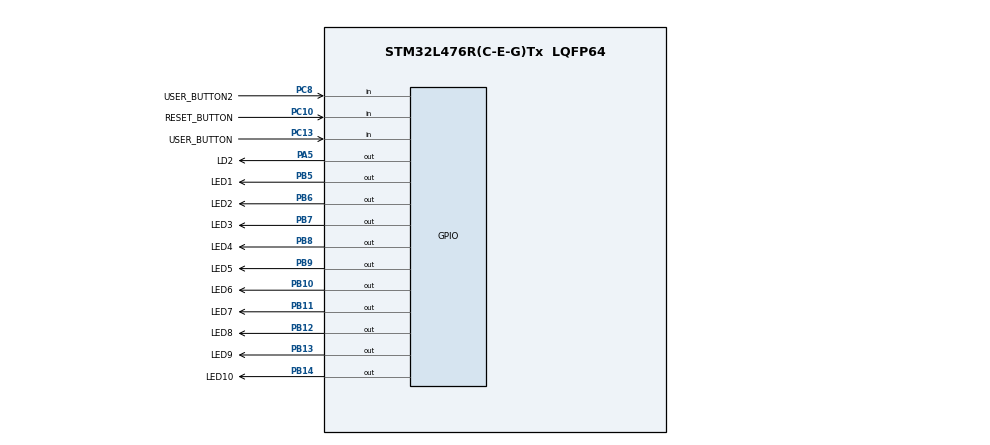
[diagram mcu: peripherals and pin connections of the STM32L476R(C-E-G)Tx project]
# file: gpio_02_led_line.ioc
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Mcu.Family=STM32L4
Mcu.Name=STM32L476R(C-E-G)Tx
Mcu.Package=LQFP64
NVIC.PriorityGroup=NVIC_PRIORITYGROUP_4
PA5.GPIO_Label=LD2
PA5.Signal=GPIO_Output
PB10.GPIO_Label=LED6
PB10.Signal=GPIO_Output
PB11.GPIO_Label=LED7
PB11.Signal=GPIO_Output
PB12.GPIO_Label=LED8
PB12.Signal=GPIO_Output
PB13.GPIO_Label=LED9
PB13.Signal=GPIO_Output
PB14.GPIO_Label=LED10
PB14.Signal=GPIO_Output
PB5.GPIO_Label=LED1
PB5.Signal=GPIO_Output
PB6.GPIO_Label=LED2
PB6.Signal=GPIO_Output
PB7.GPIO_Label=LED3
PB7.Signal=GPIO_Output
PB8.GPIO_Label=LED4
PB8.Signal=GPIO_Output
PB9.GPIO_Label=LED5
PB9.Signal=GPIO_Output
PC10.GPIO_Label=RESET_BUTTON
PC10.GPIO_PuPd=GPIO_PULLUP
PC10.Signal=GPIO_Input
PC13.GPIO_Label=USER_BUTTON
PC13.Signal=GPIO_Input
PC8.GPIO_Label=USER_BUTTON2
PC8.GPIO_PuPd=GPIO_PULLUP
PC8.Signal=GPIO_Input
ProjectManager.HeapSize=0x200
ProjectManager.StackSize=0x400
ProjectManager.TargetToolchain=STM32CubeIDE
RCC.HSE_VALUE=8000000
RCC.HSI_VALUE=16000000
RCC.LSE_VALUE=32768
RCC.MSI_VALUE=4000000
RCC.VCOOutputFreq_Value=32000000
board=custom

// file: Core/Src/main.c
/* USER CODE BEGIN Header */
/**
  ******************************************************************************
  * @file           : main.c
  * @brief          : Main program body
  ******************************************************************************
  * @attention
  *
  * <h2><center>&copy; Copyright (c) 2021 STMicroelectronics.
  * All rights reserved.</center></h2>
  *
  * This software component is licensed by ST under BSD 3-Clause license,
  * the "License"; You may not use this file except in compliance with the
  * License. You may obtain a copy of the License at:
  *                        opensource.org/licenses/BSD-3-Clause
  *
  ******************************************************************************
  */
/* USER CODE END Header */
#include "main.h"

/* USER CODE BEGIN Includes */
#include <stdbool.h>
/* USER CODE END Includes */

/* USER CODE BEGIN PTD */
typedef struct
{
    GPIO_TypeDef *port;
    uint16_t pin;
} pin_t;
/* USER CODE END PTD */

/* USER CODE BEGIN PD */
#pragma clang diagnostic push
#pragma ide diagnostic ignored "EndlessLoop"
#define LED_COUNT 10
/* USER CODE END PD */

/* USER CODE BEGIN PV */

static const pin_t LED[] = {
        {LED1_GPIO_Port,  LED1_Pin},
        {LED2_GPIO_Port,  LED2_Pin},
        {LED3_GPIO_Port,  LED3_Pin},
        {LED4_GPIO_Port,  LED4_Pin},
        {LED5_GPIO_Port,  LED5_Pin},
        {LED6_GPIO_Port,  LED6_Pin},
        {LED7_GPIO_Port,  LED7_Pin},
        {LED8_GPIO_Port,  LED8_Pin},
        {LED9_GPIO_Port,  LED9_Pin},
        {LED10_GPIO_Port, LED10_Pin},
};

static const pin_t BUTTON[] = {
        {USER_BUTTON_GPIO_Port, USER_BUTTON_Pin},
        {USER_BUTTON2_GPIO_Port, USER_BUTTON2_Pin},
};

/* USER CODE END PV */

void SystemClock_Config(void);
static void MX_GPIO_Init(void);
/* USER CODE BEGIN PFP */
void led_set(int led, bool turn_on);

bool is_button_pressed(int button);
/* USER CODE END PFP */

int main(void)
{

  /* MCU Configuration--------------------------------------------------------*/

  /* Reset of all peripherals, Initializes the Flash interface and the Systick. */
  HAL_Init();

  /* Configure the system clock */
  SystemClock_Config();

  /* Initialize all configured peripherals */
  MX_GPIO_Init();
  /* USER CODE BEGIN 2 */
    int16_t led_index = 0;
  /* USER CODE END 2 */

  /* Infinite loop */
  /* USER CODE BEGIN WHILE */
    while (1)
    {
        // Dodatek 5
        if (is_button_pressed(0) == true)
        {
            led_set(led_index, false);

            led_index++;

            if (led_index >= 10)
            {
                led_index = 0;
            }

            led_set(led_index, true);
            while (is_button_pressed(0))
            {
            }
        }

        if (is_button_pressed(1) == true)
        {
            led_set(led_index, false);

            led_index--;

            if (led_index < 0)
            {
                led_index = 9;
            }

            led_set(led_index, true);
            while (is_button_pressed(1))
            {
            }
            // opóźnienie na wypadek drgań po zwolnieniu przycisku
            HAL_Delay(20);
        }
    }
    /* USER CODE END WHILE */

}

void SystemClock_Config(void)
{
  RCC_OscInitTypeDef RCC_OscInitStruct = {0};
  RCC_ClkInitTypeDef RCC_ClkInitStruct = {0};

  /** Initializes the RCC Oscillators according to the specified parameters
  * in the RCC_OscInitTypeDef structure.
  */
  RCC_OscInitStruct.OscillatorType = RCC_OSCILLATORTYPE_MSI;
  RCC_OscInitStruct.MSIState = RCC_MSI_ON;
  RCC_OscInitStruct.MSICalibrationValue = 0;
  RCC_OscInitStruct.MSIClockRange = RCC_MSIRANGE_6;
  RCC_OscInitStruct.PLL.PLLState = RCC_PLL_NONE;
  if (HAL_RCC_OscConfig(&RCC_OscInitStruct) != HAL_OK)
  {
    Error_Handler();
  }
  /** Initializes the CPU, AHB and APB buses clocks
  */
  RCC_ClkInitStruct.ClockType = RCC_CLOCKTYPE_HCLK|RCC_CLOCKTYPE_SYSCLK
                              |RCC_CLOCKTYPE_PCLK1|RCC_CLOCKTYPE_PCLK2;
  RCC_ClkInitStruct.SYSCLKSource = RCC_SYSCLKSOURCE_MSI;
  RCC_ClkInitStruct.AHBCLKDivider = RCC_SYSCLK_DIV1;
  RCC_ClkInitStruct.APB1CLKDivider = RCC_HCLK_DIV1;
  RCC_ClkInitStruct.APB2CLKDivider = RCC_HCLK_DIV1;

  if (HAL_RCC_ClockConfig(&RCC_ClkInitStruct, FLASH_LATENCY_0) != HAL_OK)
  {
    Error_Handler();
  }
  /** Configure the main internal regulator output voltage
  */
  if (HAL_PWREx_ControlVoltageScaling(PWR_REGULATOR_VOLTAGE_SCALE1) != HAL_OK)
  {
    Error_Handler();
  }
}

static void MX_GPIO_Init(void)
{
  GPIO_InitTypeDef GPIO_InitStruct = {0};

  /* GPIO Ports Clock Enable */
  __HAL_RCC_GPIOC_CLK_ENABLE();
  __HAL_RCC_GPIOA_CLK_ENABLE();
  __HAL_RCC_GPIOB_CLK_ENABLE();

  /*Configure GPIO pin Output Level */
  HAL_GPIO_WritePin(LD2_GPIO_Port, LD2_Pin, GPIO_PIN_RESET);

  /*Configure GPIO pin Output Level */
  HAL_GPIO_WritePin(GPIOB, LED6_Pin|LED7_Pin|LED8_Pin|LED9_Pin
                          |LED10_Pin|LED1_Pin|LED2_Pin|LED3_Pin
                          |LED4_Pin|LED5_Pin, GPIO_PIN_RESET);

  /*Configure GPIO pin : USER_BUTTON_Pin */
  GPIO_InitStruct.Pin = USER_BUTTON_Pin;
  GPIO_InitStruct.Mode = GPIO_MODE_INPUT;
  GPIO_InitStruct.Pull = GPIO_NOPULL;
  HAL_GPIO_Init(USER_BUTTON_GPIO_Port, &GPIO_InitStruct);

  /*Configure GPIO pin : LD2_Pin */
  GPIO_InitStruct.Pin = LD2_Pin;
  GPIO_InitStruct.Mode = GPIO_MODE_OUTPUT_PP;
  GPIO_InitStruct.Pull = GPIO_NOPULL;
  GPIO_InitStruct.Speed = GPIO_SPEED_FREQ_LOW;
  HAL_GPIO_Init(LD2_GPIO_Port, &GPIO_InitStruct);

  /*Configure GPIO pins : LED6_Pin LED7_Pin LED8_Pin LED9_Pin
                           LED10_Pin LED1_Pin LED2_Pin LED3_Pin
                           LED4_Pin LED5_Pin */
  GPIO_InitStruct.Pin = LED6_Pin|LED7_Pin|LED8_Pin|LED9_Pin
                          |LED10_Pin|LED1_Pin|LED2_Pin|LED3_Pin
                          |LED4_Pin|LED5_Pin;
  GPIO_InitStruct.Mode = GPIO_MODE_OUTPUT_PP;
  GPIO_InitStruct.Pull = GPIO_NOPULL;
  GPIO_InitStruct.Speed = GPIO_SPEED_FREQ_LOW;
  HAL_GPIO_Init(GPIOB, &GPIO_InitStruct);

  /*Configure GPIO pin : USER_BUTTON2_Pin */
  GPIO_InitStruct.Pin = USER_BUTTON2_Pin;
  GPIO_InitStruct.Mode = GPIO_MODE_INPUT;
  GPIO_InitStruct.Pull = GPIO_PULLUP;
  HAL_GPIO_Init(USER_BUTTON2_GPIO_Port, &GPIO_InitStruct);

}

/* USER CODE BEGIN 4 */
void led_set(int led, bool turn_on)
{
    GPIO_PinState state;

    state = turn_on ? GPIO_PIN_SET : GPIO_PIN_RESET;

    if (led >= 0 && led < 10)
    {
        HAL_GPIO_WritePin(LED[led].port, LED[led].pin, state);
    }
}

bool is_button_pressed(int button)
{
    if (HAL_GPIO_ReadPin(BUTTON[button].port, BUTTON[button].pin) == GPIO_PIN_RESET)
    {
        return true;
    }
    else
    {
        return false;
    }
}

/* USER CODE END 4 */

void Error_Handler(void)
{
    __disable_irq();
    while (1)
    {
    }
}

/************************ (C) COPYRIGHT STMicroelectronics *****END OF FILE****/
